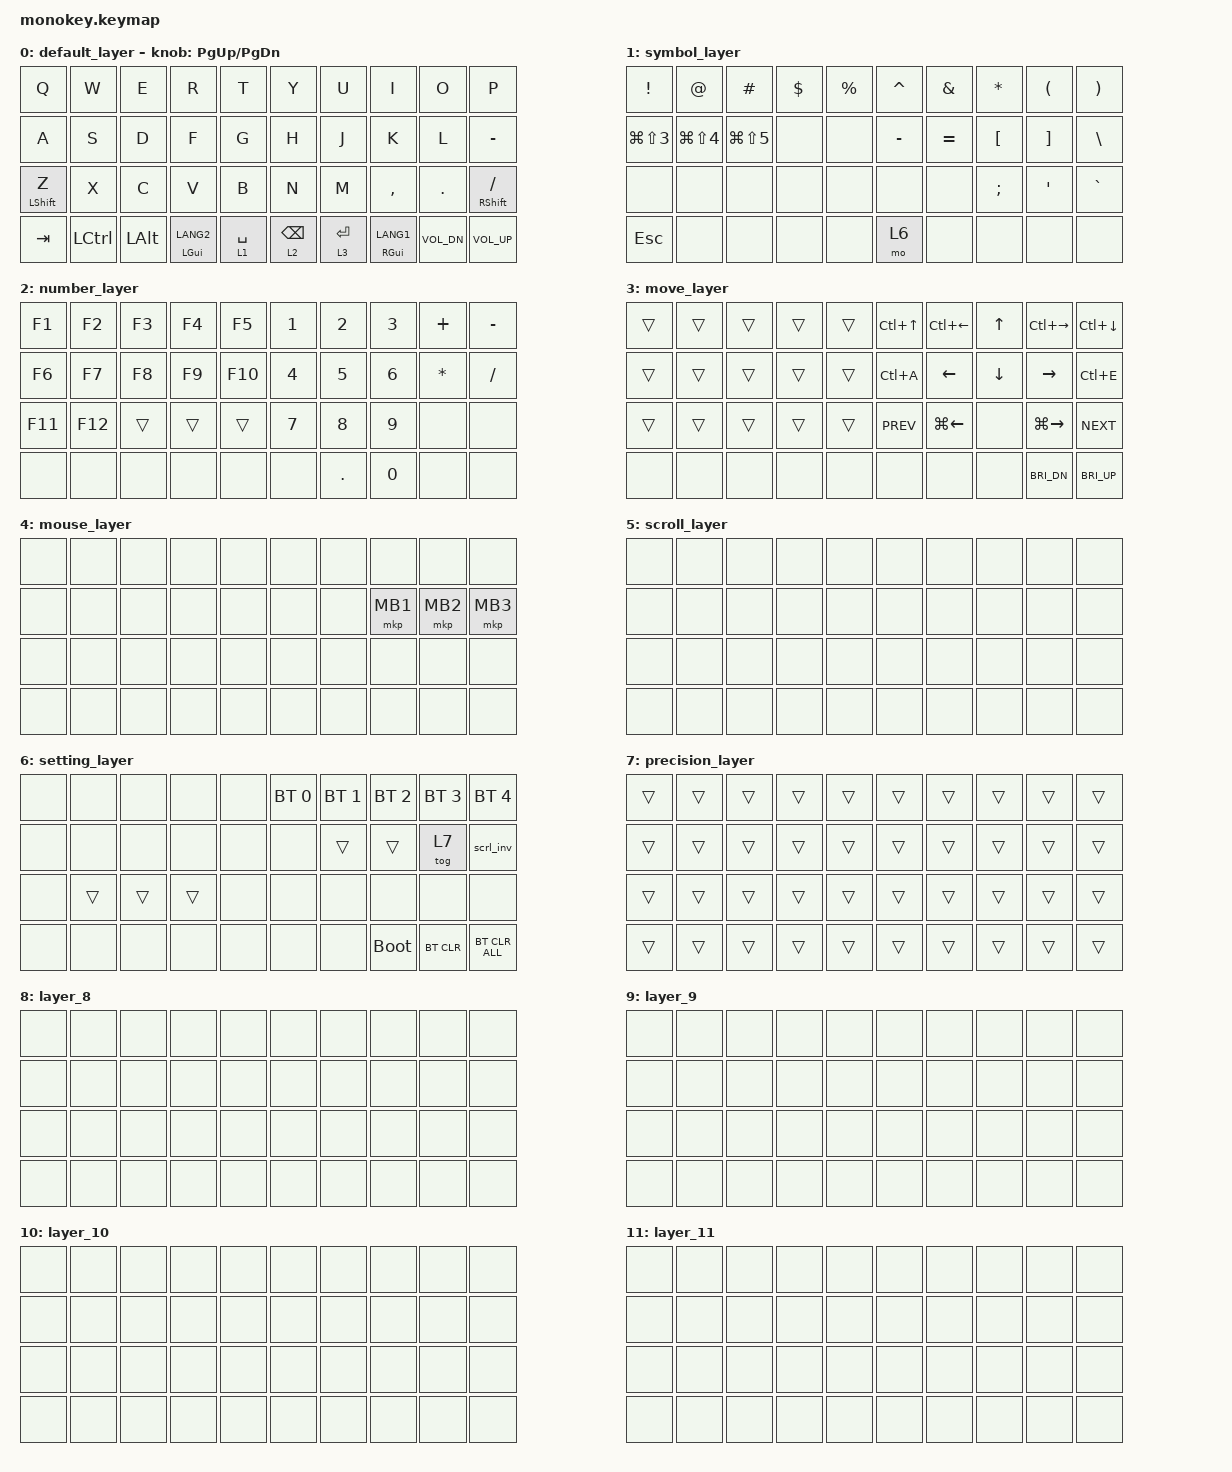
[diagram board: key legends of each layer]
/*
 * Copyright (c) 2024 Conductor Keyboard
 * Generated by Conductor Studio 2.0
 */

#include <behaviors.dtsi>
#include <dt-bindings/zmk/keys.h>
#include <dt-bindings/zmk/bt.h>
#include <dt-bindings/zmk/mouse.h>
#include <dt-bindings/zmk/pointing.h>

&mt {
    flavor = "tap-preferred";
    tapping-term-ms = <150>;
    quick-tap-ms = <250>;
};

&lt {
    tapping-term-ms = <150>;
    quick-tap-ms = <250>;
    flavor = "tap-preferred";
};

/ {
    combos {
        compatible = "zmk,combos";

        scroll {
            bindings = <&mo 5>;
            key-positions = <17 18>;
            timeout-ms = <50>;
        };

        pair {
            bindings = <&bt BT_SEL 5>;
            key-positions = <0 10 20>;
            timeout-ms = <50>;
        };

        boot {
            bindings = <&bootloader>;
            key-positions = <8 24 4>;
            timeout-ms = <50>;
        };

    };

    keymap {
        compatible = "zmk,keymap";

        default_layer {
            bindings = <
&kp Q  &kp W  &kp E  &kp R  &kp T    &kp Y  &kp U  &kp I  &kp O  &kp P
&kp A  &kp S  &kp D  &kp F  &kp G    &kp H  &kp J  &kp K  &kp L  &kp MINUS
&mt LSHIFT Z  &kp X  &kp C  &kp V  &kp B    &kp N  &kp M  &kp COMMA  &kp DOT  &mt RSHIFT FSLH
&kp TAB  &kp LCTRL  &kp LALT  &mt LGUI LANG2  &lt 1 SPACE  &lt 2 BSPC    &lt 3 ENTER  &mt RGUI LANG1  &kp C_VOL_DN  &kp C_VOL_UP
            >;

            sensor-bindings = <&inc_dec_kp PG_UP PG_DN>;
        };

        symbol_layer {
            bindings = <
&kp EXCL  &kp AT  &kp HASH  &kp DLLR  &kp PRCNT    &kp CARET  &kp AMPS  &kp STAR  &kp LPAR  &kp RPAR
&kp LG(LS(N3))  &kp LG(LS(N4))  &kp LG(LS(N5))  &none  &none    &kp MINUS  &kp EQUAL  &kp LBKT  &kp RBKT  &kp BSLH
&none  &none  &none  &none  &none    &none  &none  &kp SEMI  &kp SQT  &kp GRAVE
&kp ESC  &none  &none  &none  &none  &mo 6    &none  &none  &none  &none
            >;
        };

        number_layer {
            bindings = <
&kp F1  &kp F2  &kp F3  &kp F4  &kp F5    &kp N1  &kp N2  &kp N3  &kp PLUS  &kp MINUS
&kp F6  &kp F7  &kp F8  &kp F9  &kp F10    &kp N4  &kp N5  &kp N6  &kp STAR  &kp FSLH
&kp F11  &kp F12  &trans  &trans  &trans    &kp N7  &kp N8  &kp N9  &none  &none
&none  &none  &none  &none  &none  &none    &kp DOT  &kp N0  &none  &none
            >;
        };

        move_layer {
            bindings = <
&trans  &trans  &trans  &trans  &trans    &kp LC(UP)  &kp LC(LEFT)  &kp UP  &kp LC(RIGHT)  &kp LC(DOWN)
&trans  &trans  &trans  &trans  &trans    &kp LC(A)  &kp LEFT  &kp DOWN  &kp RIGHT  &kp LC(E)
&trans  &trans  &trans  &trans  &trans    &kp C_PREV  &kp LG(LEFT)  &none  &kp LG(RIGHT)  &kp C_NEXT
&none  &none  &none  &none  &none  &none    &none  &none  &kp C_BRI_DN  &kp C_BRI_UP
            >;
        };

        mouse_layer {
            bindings = <
&none  &none  &none  &none  &none    &none  &none  &none  &none  &none
&none  &none  &none  &none  &none    &none  &none  &mkp MB1  &mkp MB2  &mkp MB3
&none  &none  &none  &none  &none    &none  &none  &none  &none  &none
&none  &none  &none  &none  &none  &none    &none  &none  &none  &none
            >;
        };

        scroll_layer {
            bindings = <
&none  &none  &none  &none  &none    &none  &none  &none  &none  &none
&none  &none  &none  &none  &none    &none  &none  &none  &none  &none
&none  &none  &none  &none  &none    &none  &none  &none  &none  &none
&none  &none  &none  &none  &none  &none    &none  &none  &none  &none
            >;
        };

        setting_layer {
            bindings = <
&none  &none  &none  &none  &none    &bt BT_SEL 0  &bt BT_SEL 1  &bt BT_SEL 2  &bt BT_SEL 3  &bt BT_SEL 4
&none  &none  &none  &none  &none    &none  &trans  &trans  &tog 7  &scrl_inv
&none  &trans  &trans  &trans  &none    &none  &none  &none  &none  &none
&none  &none  &none  &none  &none  &none    &none  &bootloader  &bt BT_CLR  &bt BT_CLR_ALL
            >;
        };

        /* PRECISION layer: when active, trackball movement is scaled to 1/4 for
         * fine cursor control (drafting, detailed work). Toggle with &tog 7.
         * All keys pass through to the layer below (&trans). */
        precision_layer {
            bindings = <
&trans  &trans  &trans  &trans  &trans    &trans  &trans  &trans  &trans  &trans
&trans  &trans  &trans  &trans  &trans    &trans  &trans  &trans  &trans  &trans
&trans  &trans  &trans  &trans  &trans    &trans  &trans  &trans  &trans  &trans
&trans  &trans  &trans  &trans  &trans  &trans    &trans  &trans  &trans  &trans
            >;
        };

        layer_8 {
            bindings = <
&none  &none  &none  &none  &none    &none  &none  &none  &none  &none
&none  &none  &none  &none  &none    &none  &none  &none  &none  &none
&none  &none  &none  &none  &none    &none  &none  &none  &none  &none
&none  &none  &none  &none  &none  &none    &none  &none  &none  &none
            >;
        };

        layer_9 {
            bindings = <
&none  &none  &none  &none  &none    &none  &none  &none  &none  &none
&none  &none  &none  &none  &none    &none  &none  &none  &none  &none
&none  &none  &none  &none  &none    &none  &none  &none  &none  &none
&none  &none  &none  &none  &none  &none    &none  &none  &none  &none
            >;
        };

        layer_10 {
            bindings = <
&none  &none  &none  &none  &none    &none  &none  &none  &none  &none
&none  &none  &none  &none  &none    &none  &none  &none  &none  &none
&none  &none  &none  &none  &none    &none  &none  &none  &none  &none
&none  &none  &none  &none  &none  &none    &none  &none  &none  &none
            >;
        };

        layer_11 {
            bindings = <
&none  &none  &none  &none  &none    &none  &none  &none  &none  &none
&none  &none  &none  &none  &none    &none  &none  &none  &none  &none
&none  &none  &none  &none  &none    &none  &none  &none  &none  &none
&none  &none  &none  &none  &none  &none    &none  &none  &none  &none
            >;
        };

    };
};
